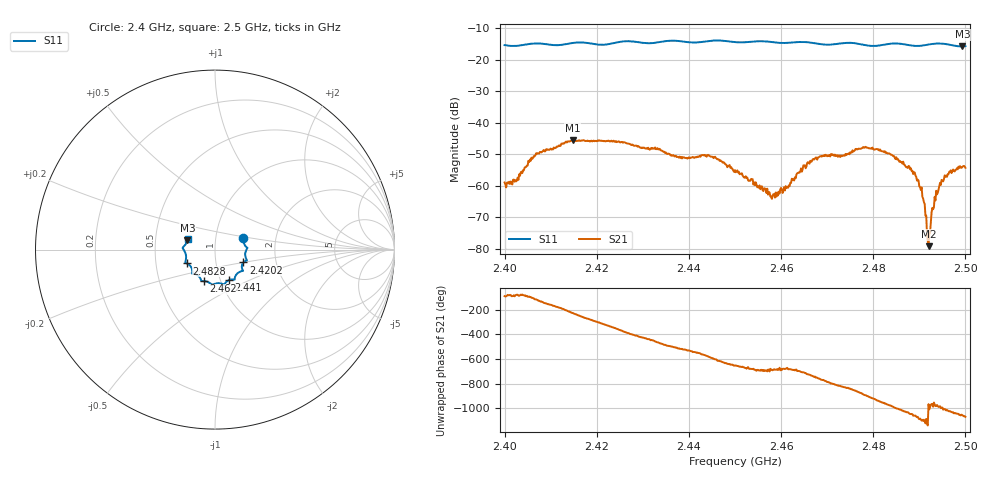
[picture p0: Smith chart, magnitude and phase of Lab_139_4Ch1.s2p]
# Hz S RI R 50
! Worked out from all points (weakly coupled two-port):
!   601 points, 2.4 GHz to 2.5 GHz, reference 50 ohm
!   highest |S21| = -45.52 dB at 2.4148 GHz (marker M1); lowest = -79.2 dB at 2.492 GHz (marker M2)
!   lowest |S11| = -15.8 dB at 2.4993 GHz (marker M3), VSWR 1.39, Z = 36.5 + j3.86 ohm
!   |S11| at or under -10 dB: start of sweep to end of sweep
!   S12 and S22 are empty: the file has one direction only
!   S11 on the Smith chart (normalised r, x): 2.4 GHz: 1.36, +0.18; 2.4202 GHz: 1.36, -0.20; 2.441 GHz: 1.10, -0.39; 2.462 GHz: 0.84, -0.30; 2.4828 GHz: 0.72, -0.11; 2.5 GHz: 0.73, +0.09
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2.4e9  0.1581 0.0624  2.22e-05 -0.00113  0 0  0 0
2.4025e9  0.1619 0.0332  0.000222 -0.00115  0 0  0 0
2.407167e9  0.1808 0.00937  -0.00167 -0.00283  0 0  0 0
2.414833e9  0.1758 -0.0549  -0.00367 0.00382  0 0  0 0
2.416667e9  0.1776 -0.0603  -0.00133 0.00505  0 0  0 0
2.420167e9  0.158 -0.0714  0.00257 0.00452  0 0  0 0
2.433333e9  0.112 -0.1512  -0.000952 -0.00364  0 0  0 0
2.441e9  0.0785 -0.1699  -0.00281 0.000106  0 0  0 0
2.45e9  0.0284 -0.1877  0.000708 0.00162  0 0  0 0
2.458167e9  -0.0264 -0.1878  0.000615 0.000336  0 0  0 0
2.462e9  -0.0605 -0.1758  0.000882 0.000674  0 0  0 0
2.466667e9  -0.0784 -0.1681  0.00235 -0.000654  0 0  0 0
2.478e9  -0.1271 -0.1153  -0.00396 -0.000619  0 0  0 0
2.482833e9  -0.1574 -0.0772  -0.00136 0.00309  0 0  0 0
2.483333e9  -0.1604 -0.0759  -0.000904 0.00313  0 0  0 0
2.489333e9  -0.1616 -0.0324  0.00135 0.000305  0 0  0 0
2.490667e9  -0.1664 -0.0152  0.000649 -0.000162  0 0  0 0
2.492e9  -0.1734 -0.00193  -4.29e-05 0.000101  0 0  0 0
2.493167e9  -0.1787 0.00543  -0.00027 0.000367  0 0  0 0
2.495e9  -0.179 0.0122  8.86e-05 0.0012  0 0  0 0
2.499333e9  -0.1537 0.0515  0.00182 0.00077  0 0  0 0
2.5e9  -0.1522 0.061  0.00189 0.000355  0 0  0 0
